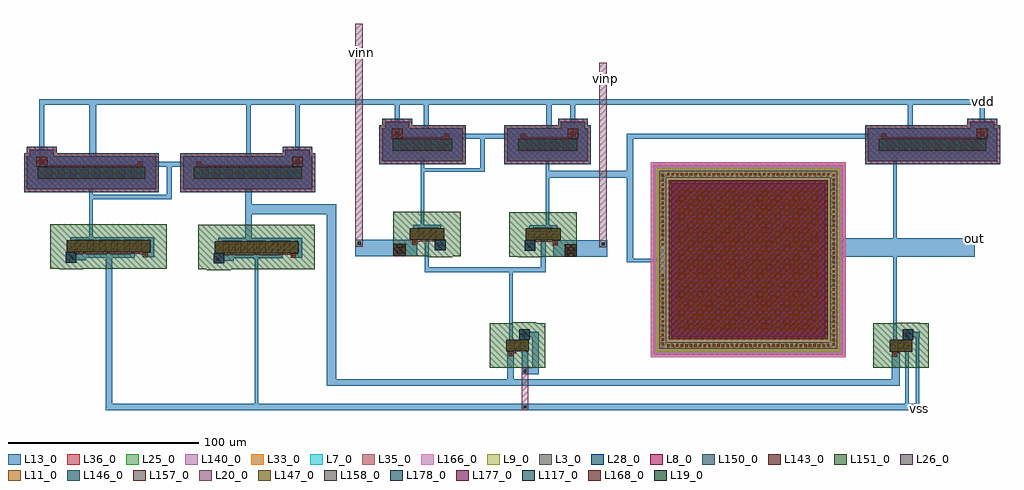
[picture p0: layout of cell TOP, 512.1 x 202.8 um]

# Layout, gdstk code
from math import pi, radians
import gdstk
lib = gdstk.Library(unit=1e-6, precision=1e-07)
def R(c, l, rs):  # rectangles x0, y0, x1, y1
    for r in rs: c.add(gdstk.rectangle(r[:2], r[2:], *l))
def A(c, l, x, y, w, h, nx, ny, dx, dy):  # array of equal rectangles
    R(c, l, [(x+i*dx, y+j*dy, x+i*dx+w, y+j*dy+h) for i in range(nx) for j in range(ny)])
def P(c, l, *ps):  # polygons
    for p in ps: c.add(gdstk.Polygon(p, *l))
L3_0 = (3, 0)
L7_0 = (7, 0)
L8_0 = (8, 0)
L9_0 = (9, 0)
L11_0 = (11, 0)
L13_0 = (13, 0)
L19_0 = (19, 0)
L20_0 = (20, 0)
L25_0 = (25, 0)
L26_0 = (26, 0)
L28_0 = (28, 0)
L33_0 = (33, 0)
L35_0 = (35, 0)
L36_0 = (36, 0)
L117_0 = (117, 0)
L140_0 = (140, 0)
L143_0 = (143, 0)
L146_0 = (146, 0)
L147_0 = (147, 0)
L150_0 = (150, 0)
L151_0 = (151, 0)
L157_0 = (157, 0)
L158_0 = (158, 0)
L166_0 = (166, 0)
L168_0 = (168, 0)
L177_0 = (177, 0)
L178_0 = (178, 0)

dcont = lib.new_cell('dcont')
R(dcont, L3_0, [(-1.3,-1.3,1.3,1.3)])
R(dcont, L11_0, [(-0.5,-0.5,0.5,0.5)])
R(dcont, L13_0, [(-1.3,-1.3,1.3,1.3), (-0.5,-0.5,0.5,0.5)])

pcont = lib.new_cell('pcont')
R(pcont, L8_0, [(-1.3,-1.3,1.3,1.3)])
R(pcont, L11_0, [(-0.5,-0.5,0.5,0.5)])
R(pcont, L13_0, [(-1.3,-1.3,1.3,1.3), (-0.5,-0.5,0.5,0.5)])

c_dcont = lib.new_cell('DCONT')
R(c_dcont, L3_0, [(-1.3,-1.3,1.3,1.3)])
R(c_dcont, L11_0, [(-0.5,-0.5,0.5,0.5)])
R(c_dcont, L13_0, [(-1.3,-1.3,1.3,1.3), (-0.5,-0.5,0.5,0.5)])

nsubcont = lib.new_cell('nsubcont')
R(nsubcont, L7_0, [(-2.8,-2.7,2.8,2.7)])
R(nsubcont, L9_0, [(-2.8,-2.7,2.8,2.7)])
R(nsubcont, L25_0, [(-6.3,-6.3,6.3,6.3)])
R(nsubcont, L26_0, [(-6.3,-6.3,6.3,6.3)])
R(nsubcont, L33_0, [(-2.8,-2.7,2.8,2.7)])
R(nsubcont, L35_0, [(-2.8,-2.7,2.8,2.7)])
R(nsubcont, L36_0, [(-7.8,-7.8,7.8,7.8)])
R(nsubcont, L140_0, [(-6.3,-6.3,6.3,6.3)])
R(nsubcont, L150_0, [(-7.8,-7.8,7.8,7.8)])
R(nsubcont, L177_0, [(-2.8,-2.7,2.8,2.7)])
nsubcont.add(gdstk.Reference(c_dcont, (0,0)))

mp_3 = lib.new_cell('MP$3')
R(mp_3, L3_0, [(0,3.6,28.2,7)])
R(mp_3, L7_0, [(-1.4,2.2,29.6,8.4)])
R(mp_3, L25_0, [(-7,-3.4,35.2,14)])
R(mp_3, L26_0, [(-7,-3.4,35.2,14)])
R(mp_3, L28_0, [(-1.4,2.2,29.6,8.4)])
R(mp_3, L33_0, [(-1.4,2.2,29.6,8.4)])
R(mp_3, L36_0, [(-8.5,-4.9,36.7,15.5)])
R(mp_3, L140_0, [(-7,-3.4,35.2,14)])
R(mp_3, L146_0, [(-1.4,2.2,29.6,8.4)])
R(mp_3, L150_0, [(-8.5,-4.9,36.7,15.5)])
R(mp_3, L157_0, [(-1.4,2.2,29.6,8.4)])
mp_3.add(gdstk.FlexPath([(1.3,3.6),(1.3,7)], 2.6, ends="flush", simple_path=True, layer=13, datatype=0))  # L13_0
mp_3.add(gdstk.FlexPath([(7.7,3.6),(7.7,7)], 2.6, ends="flush", simple_path=True, layer=13, datatype=0))  # L13_0
mp_3.add(gdstk.FlexPath([(14.1,3.6),(14.1,7)], 2.6, ends="flush", simple_path=True, layer=13, datatype=0))  # L13_0
mp_3.add(gdstk.FlexPath([(20.5,3.6),(20.5,7)], 2.6, ends="flush", simple_path=True, layer=13, datatype=0))  # L13_0
mp_3.add(gdstk.FlexPath([(26.9,3.6),(26.9,7)], 2.6, ends="flush", simple_path=True, layer=13, datatype=0))  # L13_0
mp_3.add(gdstk.FlexPath([(1.3,6),(1.3,9.3)], 1.8, ends="flush", simple_path=True, layer=13, datatype=0))  # L13_0
mp_3.add(gdstk.FlexPath([(7.7,0.3),(7.7,4.6)], 1.8, ends="flush", simple_path=True, layer=13, datatype=0))  # L13_0
mp_3.add(gdstk.FlexPath([(14.1,6),(14.1,9.3)], 1.8, ends="flush", simple_path=True, layer=13, datatype=0))  # L13_0
mp_3.add(gdstk.FlexPath([(1.3,9.3),(14.1,9.3)], 1.8, ends="extended", simple_path=True, layer=13, datatype=0))  # L13_0
mp_3.add(gdstk.FlexPath([(20.5,0.3),(20.5,4.6)], 1.8, ends="flush", simple_path=True, layer=13, datatype=0))  # L13_0
mp_3.add(gdstk.FlexPath([(7.7,0.3),(20.5,0.3)], 1.8, ends="extended", simple_path=True, layer=13, datatype=0))  # L13_0
mp_3.add(gdstk.FlexPath([(26.9,6),(26.9,9.3)], 1.8, ends="flush", simple_path=True, layer=13, datatype=0))  # L13_0
mp_3.add(gdstk.FlexPath([(14.1,9.3),(26.9,9.3)], 1.8, ends="extended", simple_path=True, layer=13, datatype=0))  # L13_0
mp_3.add(gdstk.FlexPath([(4.5,3.6),(4.5,7)], 3.4, ends=(1.2, 1.2), simple_path=True, layer=8, datatype=0))  # L8_0
mp_3.add(gdstk.FlexPath([(10.9,3.6),(10.9,7)], 3.4, ends=(1.2, 1.2), simple_path=True, layer=8, datatype=0))  # L8_0
mp_3.add(gdstk.FlexPath([(17.3,3.6),(17.3,7)], 3.4, ends=(1.2, 1.2), simple_path=True, layer=8, datatype=0))  # L8_0
mp_3.add(gdstk.FlexPath([(23.7,3.6),(23.7,7)], 3.4, ends=(1.2, 1.2), simple_path=True, layer=8, datatype=0))  # L8_0
mp_3.add(gdstk.FlexPath([(1.3,1.7),(3.3,1.7),(3.3,2.4)], 1, ends="flush", simple_path=True, layer=8, datatype=0))  # L8_0
mp_3.add(gdstk.FlexPath([(2.8,1.9),(12.6,1.9)], 1, ends="flush", simple_path=True, layer=8, datatype=0))  # L8_0
mp_3.add(gdstk.FlexPath([(9.2,1.9),(19,1.9)], 1, ends="flush", simple_path=True, layer=8, datatype=0))  # L8_0
mp_3.add(gdstk.FlexPath([(15.6,1.9),(25.4,1.9)], 1, ends="flush", simple_path=True, layer=8, datatype=0))  # L8_0
mp_3.add(gdstk.Reference(dcont, (1.3,5.3)))
mp_3.add(gdstk.Reference(dcont, (7.7,5.3)))
mp_3.add(gdstk.Reference(dcont, (14.1,5.3)))
mp_3.add(gdstk.Reference(dcont, (20.5,5.3)))
mp_3.add(gdstk.Reference(dcont, (26.9,5.3)))
mp_3.add(gdstk.Reference(pcont, (1.3,0.9)))
mp_3.add(gdstk.Reference(nsubcont, (27.4,-0.5)))

c_mp = lib.new_cell('MP')
R(c_mp, L3_0, [(0,3.6,53.8,7)])
R(c_mp, L7_0, [(-1.4,2.2,55.2,8.4)])
R(c_mp, L25_0, [(-7,-3.4,60.8,14)])
R(c_mp, L26_0, [(-7,-3.4,60.8,14)])
R(c_mp, L28_0, [(-1.4,2.2,55.2,8.4)])
R(c_mp, L33_0, [(-1.4,2.2,55.2,8.4)])
R(c_mp, L36_0, [(-8.5,-4.9,62.3,15.5)])
R(c_mp, L140_0, [(-7,-3.4,60.8,14)])
R(c_mp, L146_0, [(-1.4,2.2,55.2,8.4)])
R(c_mp, L150_0, [(-8.5,-4.9,62.3,15.5)])
R(c_mp, L157_0, [(-1.4,2.2,55.2,8.4)])
c_mp.add(gdstk.FlexPath([(1.3,3.6),(1.3,7)], 2.6, ends="flush", simple_path=True, layer=13, datatype=0))  # L13_0
c_mp.add(gdstk.FlexPath([(7.7,3.6),(7.7,7)], 2.6, ends="flush", simple_path=True, layer=13, datatype=0))  # L13_0
c_mp.add(gdstk.FlexPath([(14.1,3.6),(14.1,7)], 2.6, ends="flush", simple_path=True, layer=13, datatype=0))  # L13_0
c_mp.add(gdstk.FlexPath([(20.5,3.6),(20.5,7)], 2.6, ends="flush", simple_path=True, layer=13, datatype=0))  # L13_0
c_mp.add(gdstk.FlexPath([(26.9,3.6),(26.9,7)], 2.6, ends="flush", simple_path=True, layer=13, datatype=0))  # L13_0
c_mp.add(gdstk.FlexPath([(33.3,3.6),(33.3,7)], 2.6, ends="flush", simple_path=True, layer=13, datatype=0))  # L13_0
c_mp.add(gdstk.FlexPath([(39.7,3.6),(39.7,7)], 2.6, ends="flush", simple_path=True, layer=13, datatype=0))  # L13_0
c_mp.add(gdstk.FlexPath([(46.1,3.6),(46.1,7)], 2.6, ends="flush", simple_path=True, layer=13, datatype=0))  # L13_0
c_mp.add(gdstk.FlexPath([(52.5,3.6),(52.5,7)], 2.6, ends="flush", simple_path=True, layer=13, datatype=0))  # L13_0
c_mp.add(gdstk.FlexPath([(1.3,6),(1.3,9.3)], 1.8, ends="flush", simple_path=True, layer=13, datatype=0))  # L13_0
c_mp.add(gdstk.FlexPath([(7.7,0.3),(7.7,4.6)], 1.8, ends="flush", simple_path=True, layer=13, datatype=0))  # L13_0
c_mp.add(gdstk.FlexPath([(14.1,6),(14.1,9.3)], 1.8, ends="flush", simple_path=True, layer=13, datatype=0))  # L13_0
c_mp.add(gdstk.FlexPath([(1.3,9.3),(14.1,9.3)], 1.8, ends="extended", simple_path=True, layer=13, datatype=0))  # L13_0
c_mp.add(gdstk.FlexPath([(20.5,0.3),(20.5,4.6)], 1.8, ends="flush", simple_path=True, layer=13, datatype=0))  # L13_0
c_mp.add(gdstk.FlexPath([(7.7,0.3),(20.5,0.3)], 1.8, ends="extended", simple_path=True, layer=13, datatype=0))  # L13_0
c_mp.add(gdstk.FlexPath([(26.9,6),(26.9,9.3)], 1.8, ends="flush", simple_path=True, layer=13, datatype=0))  # L13_0
c_mp.add(gdstk.FlexPath([(14.1,9.3),(26.9,9.3)], 1.8, ends="extended", simple_path=True, layer=13, datatype=0))  # L13_0
c_mp.add(gdstk.FlexPath([(33.3,0.3),(33.3,4.6)], 1.8, ends="flush", simple_path=True, layer=13, datatype=0))  # L13_0
c_mp.add(gdstk.FlexPath([(20.5,0.3),(33.3,0.3)], 1.8, ends="extended", simple_path=True, layer=13, datatype=0))  # L13_0
c_mp.add(gdstk.FlexPath([(39.7,6),(39.7,9.3)], 1.8, ends="flush", simple_path=True, layer=13, datatype=0))  # L13_0
c_mp.add(gdstk.FlexPath([(26.9,9.3),(39.7,9.3)], 1.8, ends="extended", simple_path=True, layer=13, datatype=0))  # L13_0
c_mp.add(gdstk.FlexPath([(46.1,0.3),(46.1,4.6)], 1.8, ends="flush", simple_path=True, layer=13, datatype=0))  # L13_0
c_mp.add(gdstk.FlexPath([(33.3,0.3),(46.1,0.3)], 1.8, ends="extended", simple_path=True, layer=13, datatype=0))  # L13_0
c_mp.add(gdstk.FlexPath([(52.5,6),(52.5,9.3)], 1.8, ends="flush", simple_path=True, layer=13, datatype=0))  # L13_0
c_mp.add(gdstk.FlexPath([(39.7,9.3),(52.5,9.3)], 1.8, ends="extended", simple_path=True, layer=13, datatype=0))  # L13_0
c_mp.add(gdstk.FlexPath([(4.5,3.6),(4.5,7)], 3.4, ends=(1.2, 1.2), simple_path=True, layer=8, datatype=0))  # L8_0
c_mp.add(gdstk.FlexPath([(10.9,3.6),(10.9,7)], 3.4, ends=(1.2, 1.2), simple_path=True, layer=8, datatype=0))  # L8_0
c_mp.add(gdstk.FlexPath([(17.3,3.6),(17.3,7)], 3.4, ends=(1.2, 1.2), simple_path=True, layer=8, datatype=0))  # L8_0
c_mp.add(gdstk.FlexPath([(23.7,3.6),(23.7,7)], 3.4, ends=(1.2, 1.2), simple_path=True, layer=8, datatype=0))  # L8_0
c_mp.add(gdstk.FlexPath([(30.1,3.6),(30.1,7)], 3.4, ends=(1.2, 1.2), simple_path=True, layer=8, datatype=0))  # L8_0
c_mp.add(gdstk.FlexPath([(36.5,3.6),(36.5,7)], 3.4, ends=(1.2, 1.2), simple_path=True, layer=8, datatype=0))  # L8_0
c_mp.add(gdstk.FlexPath([(42.9,3.6),(42.9,7)], 3.4, ends=(1.2, 1.2), simple_path=True, layer=8, datatype=0))  # L8_0
c_mp.add(gdstk.FlexPath([(49.3,3.6),(49.3,7)], 3.4, ends=(1.2, 1.2), simple_path=True, layer=8, datatype=0))  # L8_0
c_mp.add(gdstk.FlexPath([(1.3,1.7),(3.3,1.7),(3.3,2.4)], 1, ends="flush", simple_path=True, layer=8, datatype=0))  # L8_0
c_mp.add(gdstk.FlexPath([(2.8,1.9),(12.6,1.9)], 1, ends="flush", simple_path=True, layer=8, datatype=0))  # L8_0
c_mp.add(gdstk.FlexPath([(9.2,1.9),(19,1.9)], 1, ends="flush", simple_path=True, layer=8, datatype=0))  # L8_0
c_mp.add(gdstk.FlexPath([(15.6,1.9),(25.4,1.9)], 1, ends="flush", simple_path=True, layer=8, datatype=0))  # L8_0
c_mp.add(gdstk.FlexPath([(22,1.9),(31.8,1.9)], 1, ends="flush", simple_path=True, layer=8, datatype=0))  # L8_0
c_mp.add(gdstk.FlexPath([(28.4,1.9),(38.2,1.9)], 1, ends="flush", simple_path=True, layer=8, datatype=0))  # L8_0
c_mp.add(gdstk.FlexPath([(34.8,1.9),(44.6,1.9)], 1, ends="flush", simple_path=True, layer=8, datatype=0))  # L8_0
c_mp.add(gdstk.FlexPath([(41.2,1.9),(51,1.9)], 1, ends="flush", simple_path=True, layer=8, datatype=0))  # L8_0
c_mp.add(gdstk.Reference(dcont, (1.3,5.3)))
c_mp.add(gdstk.Reference(dcont, (7.7,5.3)))
c_mp.add(gdstk.Reference(dcont, (14.1,5.3)))
c_mp.add(gdstk.Reference(dcont, (20.5,5.3)))
c_mp.add(gdstk.Reference(dcont, (26.9,5.3)))
c_mp.add(gdstk.Reference(dcont, (33.3,5.3)))
c_mp.add(gdstk.Reference(dcont, (39.7,5.3)))
c_mp.add(gdstk.Reference(dcont, (46.1,5.3)))
c_mp.add(gdstk.Reference(dcont, (52.5,5.3)))
c_mp.add(gdstk.Reference(pcont, (1.3,0.9)))
c_mp.add(gdstk.Reference(nsubcont, (53,-0.5)))

psubcont = lib.new_cell('psubcont')
R(psubcont, L7_0, [(-2.8,-2.7,2.8,2.7)])
R(psubcont, L28_0, [(-2.8,-2.7,2.8,2.7)])
R(psubcont, L33_0, [(-2.8,-2.7,2.8,2.7)])
R(psubcont, L35_0, [(-2.8,-2.7,2.8,2.7)])
R(psubcont, L151_0, [(-6.3,-6.3,6.3,6.3)])
R(psubcont, L178_0, [(-2.8,-2.7,2.8,2.7)])
psubcont.add(gdstk.Reference(c_dcont, (0,0)))

mn_5 = lib.new_cell('MN$5')
R(mn_5, L3_0, [(0,3.6,41,7)])
R(mn_5, L9_0, [(-1.4,2.2,42.4,8.4)])
R(mn_5, L33_0, [(-1.4,2.2,42.4,8.4)])
R(mn_5, L35_0, [(-1.4,2.2,42.4,8.4)])
R(mn_5, L147_0, [(-1.4,2.2,42.4,8.4)])
R(mn_5, L151_0, [(-10,-6.4,51,17)])
R(mn_5, L158_0, [(-1.4,2.2,42.4,8.4)])
mn_5.add(gdstk.FlexPath([(1.3,3.6),(1.3,7)], 2.6, ends="flush", simple_path=True, layer=13, datatype=0))  # L13_0
mn_5.add(gdstk.FlexPath([(7.7,3.6),(7.7,7)], 2.6, ends="flush", simple_path=True, layer=13, datatype=0))  # L13_0
mn_5.add(gdstk.FlexPath([(14.1,3.6),(14.1,7)], 2.6, ends="flush", simple_path=True, layer=13, datatype=0))  # L13_0
mn_5.add(gdstk.FlexPath([(20.5,3.6),(20.5,7)], 2.6, ends="flush", simple_path=True, layer=13, datatype=0))  # L13_0
mn_5.add(gdstk.FlexPath([(26.9,3.6),(26.9,7)], 2.6, ends="flush", simple_path=True, layer=13, datatype=0))  # L13_0
mn_5.add(gdstk.FlexPath([(33.3,3.6),(33.3,7)], 2.6, ends="flush", simple_path=True, layer=13, datatype=0))  # L13_0
mn_5.add(gdstk.FlexPath([(39.7,3.6),(39.7,7)], 2.6, ends="flush", simple_path=True, layer=13, datatype=0))  # L13_0
mn_5.add(gdstk.FlexPath([(1.3,1.3),(1.3,4.6)], 1.8, ends="flush", simple_path=True, layer=13, datatype=0))  # L13_0
mn_5.add(gdstk.FlexPath([(7.7,6),(7.7,10.3)], 1.8, ends="flush", simple_path=True, layer=13, datatype=0))  # L13_0
mn_5.add(gdstk.FlexPath([(14.1,1.3),(14.1,4.6)], 1.8, ends="flush", simple_path=True, layer=13, datatype=0))  # L13_0
mn_5.add(gdstk.FlexPath([(1.3,1.3),(14.1,1.3)], 1.8, ends="extended", simple_path=True, layer=13, datatype=0))  # L13_0
mn_5.add(gdstk.FlexPath([(20.5,6),(20.5,10.3)], 1.8, ends="flush", simple_path=True, layer=13, datatype=0))  # L13_0
mn_5.add(gdstk.FlexPath([(7.7,10.3),(20.5,10.3)], 1.8, ends="extended", simple_path=True, layer=13, datatype=0))  # L13_0
mn_5.add(gdstk.FlexPath([(26.9,1.3),(26.9,4.6)], 1.8, ends="flush", simple_path=True, layer=13, datatype=0))  # L13_0
mn_5.add(gdstk.FlexPath([(14.1,1.3),(26.9,1.3)], 1.8, ends="extended", simple_path=True, layer=13, datatype=0))  # L13_0
mn_5.add(gdstk.FlexPath([(33.3,6),(33.3,10.3)], 1.8, ends="flush", simple_path=True, layer=13, datatype=0))  # L13_0
mn_5.add(gdstk.FlexPath([(20.5,10.3),(33.3,10.3)], 1.8, ends="extended", simple_path=True, layer=13, datatype=0))  # L13_0
mn_5.add(gdstk.FlexPath([(39.7,1.3),(39.7,4.6)], 1.8, ends="flush", simple_path=True, layer=13, datatype=0))  # L13_0
mn_5.add(gdstk.FlexPath([(26.9,1.3),(39.7,1.3)], 1.8, ends="extended", simple_path=True, layer=13, datatype=0))  # L13_0
mn_5.add(gdstk.FlexPath([(4.5,3.6),(4.5,7)], 3.4, ends=(1.2, 1.2), simple_path=True, layer=8, datatype=0))  # L8_0
mn_5.add(gdstk.FlexPath([(10.9,3.6),(10.9,7)], 3.4, ends=(1.2, 1.2), simple_path=True, layer=8, datatype=0))  # L8_0
mn_5.add(gdstk.FlexPath([(17.3,3.6),(17.3,7)], 3.4, ends=(1.2, 1.2), simple_path=True, layer=8, datatype=0))  # L8_0
mn_5.add(gdstk.FlexPath([(23.7,3.6),(23.7,7)], 3.4, ends=(1.2, 1.2), simple_path=True, layer=8, datatype=0))  # L8_0
mn_5.add(gdstk.FlexPath([(30.1,3.6),(30.1,7)], 3.4, ends=(1.2, 1.2), simple_path=True, layer=8, datatype=0))  # L8_0
mn_5.add(gdstk.FlexPath([(36.5,3.6),(36.5,7)], 3.4, ends=(1.2, 1.2), simple_path=True, layer=8, datatype=0))  # L8_0
mn_5.add(gdstk.FlexPath([(1.3,8.9),(3.3,8.9),(3.3,8.2)], 1, ends="flush", simple_path=True, layer=8, datatype=0))  # L8_0
mn_5.add(gdstk.FlexPath([(2.8,8.7),(12.6,8.7)], 1, ends="flush", simple_path=True, layer=8, datatype=0))  # L8_0
mn_5.add(gdstk.FlexPath([(9.2,8.7),(19,8.7)], 1, ends="flush", simple_path=True, layer=8, datatype=0))  # L8_0
mn_5.add(gdstk.FlexPath([(15.6,8.7),(25.4,8.7)], 1, ends="flush", simple_path=True, layer=8, datatype=0))  # L8_0
mn_5.add(gdstk.FlexPath([(22,8.7),(31.8,8.7)], 1, ends="flush", simple_path=True, layer=8, datatype=0))  # L8_0
mn_5.add(gdstk.FlexPath([(28.4,8.7),(38.2,8.7)], 1, ends="flush", simple_path=True, layer=8, datatype=0))  # L8_0
mn_5.add(gdstk.Reference(dcont, (1.3,5.3)))
mn_5.add(gdstk.Reference(dcont, (7.7,5.3)))
mn_5.add(gdstk.Reference(dcont, (14.1,5.3)))
mn_5.add(gdstk.Reference(dcont, (20.5,5.3)))
mn_5.add(gdstk.Reference(dcont, (26.9,5.3)))
mn_5.add(gdstk.Reference(dcont, (33.3,5.3)))
mn_5.add(gdstk.Reference(dcont, (39.7,5.3)))
mn_5.add(gdstk.Reference(pcont, (1.3,9.7)))
mn_5.add(gdstk.Reference(psubcont, (40.2,11.1)))

c_mn = lib.new_cell('MN')
R(c_mn, L3_0, [(0,3.6,9,7)])
R(c_mn, L9_0, [(-1.4,2.2,10.4,8.4)])
R(c_mn, L33_0, [(-1.4,2.2,10.4,8.4)])
R(c_mn, L35_0, [(-1.4,2.2,10.4,8.4)])
R(c_mn, L147_0, [(-1.4,2.2,10.4,8.4)])
R(c_mn, L151_0, [(-10,-6.4,19,17)])
R(c_mn, L158_0, [(-1.4,2.2,10.4,8.4)])
c_mn.add(gdstk.FlexPath([(1.3,3.6),(1.3,7)], 2.6, ends="flush", simple_path=True, layer=13, datatype=0))  # L13_0
c_mn.add(gdstk.FlexPath([(7.7,3.6),(7.7,7)], 2.6, ends="flush", simple_path=True, layer=13, datatype=0))  # L13_0
c_mn.add(gdstk.FlexPath([(1.3,1.3),(1.3,4.6)], 1.8, ends="flush", simple_path=True, layer=13, datatype=0))  # L13_0
c_mn.add(gdstk.FlexPath([(7.7,6),(7.7,9.3)], 1.8, ends="flush", simple_path=True, layer=13, datatype=0))  # L13_0
c_mn.add(gdstk.FlexPath([(4.5,3.6),(4.5,7)], 3.4, ends=(1.2, 1.2), simple_path=True, layer=8, datatype=0))  # L8_0
c_mn.add(gdstk.FlexPath([(1.3,8.9),(3.3,8.9),(3.3,8.2)], 1, ends="flush", simple_path=True, layer=8, datatype=0))  # L8_0
c_mn.add(gdstk.Reference(dcont, (1.3,5.3)))
c_mn.add(gdstk.Reference(dcont, (7.7,5.3)))
c_mn.add(gdstk.Reference(pcont, (1.3,9.7)))
c_mn.add(gdstk.Reference(psubcont, (8.2,-0.5)))

text = lib.new_cell('TEXT')

mn_6 = lib.new_cell('MN$6')
R(mn_6, L3_0, [(0,3.6,15.4,7)])
R(mn_6, L9_0, [(-1.4,2.2,16.8,8.4)])
R(mn_6, L33_0, [(-1.4,2.2,16.8,8.4)])
R(mn_6, L35_0, [(-1.4,2.2,16.8,8.4)])
R(mn_6, L147_0, [(-1.4,2.2,16.8,8.4)])
R(mn_6, L151_0, [(-10,-6.4,25.4,17)])
R(mn_6, L158_0, [(-1.4,2.2,16.8,8.4)])
mn_6.add(gdstk.FlexPath([(1.3,3.6),(1.3,7)], 2.6, ends="flush", simple_path=True, layer=13, datatype=0))  # L13_0
mn_6.add(gdstk.FlexPath([(7.7,3.6),(7.7,7)], 2.6, ends="flush", simple_path=True, layer=13, datatype=0))  # L13_0
mn_6.add(gdstk.FlexPath([(14.1,3.6),(14.1,7)], 2.6, ends="flush", simple_path=True, layer=13, datatype=0))  # L13_0
mn_6.add(gdstk.FlexPath([(1.3,1.3),(1.3,4.6)], 1.8, ends="flush", simple_path=True, layer=13, datatype=0))  # L13_0
mn_6.add(gdstk.FlexPath([(7.7,6),(7.7,10.3)], 1.8, ends="flush", simple_path=True, layer=13, datatype=0))  # L13_0
mn_6.add(gdstk.FlexPath([(14.1,1.3),(14.1,4.6)], 1.8, ends="flush", simple_path=True, layer=13, datatype=0))  # L13_0
mn_6.add(gdstk.FlexPath([(1.3,1.3),(14.1,1.3)], 1.8, ends="extended", simple_path=True, layer=13, datatype=0))  # L13_0
mn_6.add(gdstk.FlexPath([(4.5,3.6),(4.5,7)], 3.4, ends=(1.2, 1.2), simple_path=True, layer=8, datatype=0))  # L8_0
mn_6.add(gdstk.FlexPath([(10.9,3.6),(10.9,7)], 3.4, ends=(1.2, 1.2), simple_path=True, layer=8, datatype=0))  # L8_0
mn_6.add(gdstk.FlexPath([(1.3,8.9),(3.3,8.9),(3.3,8.2)], 1, ends="flush", simple_path=True, layer=8, datatype=0))  # L8_0
mn_6.add(gdstk.FlexPath([(2.8,8.7),(12.6,8.7)], 1, ends="flush", simple_path=True, layer=8, datatype=0))  # L8_0
mn_6.add(gdstk.Reference(dcont, (1.3,5.3)))
mn_6.add(gdstk.Reference(dcont, (7.7,5.3)))
mn_6.add(gdstk.Reference(dcont, (14.1,5.3)))
mn_6.add(gdstk.Reference(pcont, (1.3,9.7)))
mn_6.add(gdstk.Reference(psubcont, (14.6,11.1)))

via = lib.new_cell('Via')
R(via, L13_0, [(-1.7,-1.7,1.7,1.7)])
R(via, L19_0, [(-0.7,-0.7,0.7,0.7)])
R(via, L20_0, [(-1.7,-1.7,1.7,1.7)])

csio = lib.new_cell('CSIO')
R(csio, L3_0, [(-40.3,-40.3,40.3,40.3)])
P(csio, L3_0, [(-46.7,-46.7),(-46.7,46.7),(43.1,46.7),(43.1,43.1),(-43.1,43.1),(-43.1,-43.1),(43.1,-43.1),(43.1,46.7),(46.7,46.7),(46.7,-46.7)])
R(csio, L7_0, [(-48.1,-48.1,48.1,48.1)])
R(csio, L8_0, [(-41.7,-41.7,41.7,41.7)])
R(csio, L9_0, [(-48.1,-48.1,48.1,48.1)])
A(csio, L11_0, -44.8, -45.5, 1.2, 1.2, 16, 1, 2.4, 0)
A(csio, L11_0, 7.6, -45.5, 1.2, 1.2, 16, 1, 2.4, 0)
A(csio, L11_0, -45.5, -42.6, 1.2, 1.2, 1, 36, 0, 2.4)
A(csio, L11_0, 44.3, -42.6, 1.2, 1.2, 1, 36, 0, 2.4)
A(csio, L11_0, -36.6, -36.6, 1.2, 1.2, 31, 31, 2.4, 2.4)
A(csio, L11_0, -45, 44.3, 1.2, 1.2, 38, 1, 2.4, 0)
R(csio, L13_0, [(-38.9,-38.9,38.9,38.9)])
P(csio, L13_0, [(-46.7,-46.7),(-46.7,46.7),(46.7,46.7),(46.7,-46.7),(5,-46.7),(5,-43.1),(43.1,-43.1),(43.1,43.1),(-43.1,43.1),(-43.1,-43.1),(-5,-43.1),(-5,-46.7)])
R(csio, L25_0, [(-49.7,-49.7,49.7,49.7)])
R(csio, L28_0, [(-41.7,-41.7,41.7,41.7)])
R(csio, L33_0, [(-48.1,-48.1,48.1,48.1)])
R(csio, L35_0, [(-48.1,-48.1,48.1,48.1)])
R(csio, L36_0, [(-51.2,-51.2,51.2,51.2)])
R(csio, L140_0, [(-49.7,-49.7,49.7,49.7)])
R(csio, L143_0, [(-41.7,-41.7,41.7,41.7)])
R(csio, L166_0, [(-51.2,-51.2,51.2,51.2)])
csio.add(gdstk.Label('CSIO', (0,0), layer=3, texttype=0))

c_dn = lib.new_cell('DN')
R(c_dn, L3_0, [(0,0,3.6,3.6)])
R(c_dn, L7_0, [(-1.4,-1.4,5,5)])
R(c_dn, L9_0, [(-1.4,-1.4,5,5)])
R(c_dn, L11_0, [(1.2,1.2,2.4,2.4)])
R(c_dn, L13_0, [(0,0,3.6,3.6), (0,0,3.6,3.6), (0,0,3.6,3.6), (0,0,3.6,3.6), (0,0,3.6,3.6)])
R(c_dn, L33_0, [(-1.4,-1.4,5,5)])
R(c_dn, L35_0, [(-1.4,-1.4,5,5)])
R(c_dn, L117_0, [(-1.4,-1.4,5,5), (0,0,3.6,3.6)])
R(c_dn, L168_0, [(-1.4,-1.4,5,5)])
c_dn.add(gdstk.Label('NDIO', (1.8,1.8), layer=3, texttype=0))

top = lib.new_cell('TOP')
R(top, L13_0, [(-220.9,-85.2,206,-81.8), (204.2,-85,206,-44.1), (198.5,-84.9,200.4,-54.4), (-142.8,-84.7,-140.9,-4.6), (-221,-84.4,-217.6,-4.3), (-105,-72.4,-100,22.9), (-105,-72.4,-6.9,-69), (-10.3,-72.4,-6.9,-54.4), (-10.2,-72.4,195.6,-69), (191.6,-72.4,195.6,-54.4), (-2.7,-66.4,0.7,-54.4), (-2.7,-66.4,6.4,-62.9), (3,-66.4,6.4,-44.1), (-9.1,-48.1,-7.3,-10.1), (192.2,-48.1,194,51), (-2.6,-46.7,4.8,-44.1), (198.7,-46.7,206.1,-44.1), (-53.5,-12.7,10,-10.1), (-53.5,-12.6,-51.3,3.4), (7.4,-12.5,9.9,3.2), (52.4,-7.5,55.8,59.9), (52.4,-7.5,80.7,-5.6), (-162.8,-6.7,-153.7,-3.7), (-240.4,-6.4,-231.3,-3.4), (-123.9,-5.3,-117.7,-2.7), (-119.9,-5.3,-117.7,5.3), (-201.5,-5,-195.5,-2.4), (-197.5,-5,-195.5,5.6), (159.3,-4.7,235.1,5.1), (13.8,-4.6,42.1,4), (-90,-4.4,-57.4,4.2), (-123.5,3.5,-117.7,5.3), (-201.1,3.9,-195.5,5.7), (-147.6,4.3,-144.2,35.4), (-229.6,4.7,-227.6,35.6), (10,10.9,11.8,50.1), (-55.6,11,-53.8,50.2), (-147.6,17.6,-100,22.9), (-229.2,25.5,-186.4,28), (-188.8,25.5,-186.4,45.1), (10.1,36.8,55.9,40.4), (-55.6,40,-22.1,41.9), (-24.5,40,-22.1,59.8), (-204.1,42.5,-170.7,45.1), (-121.6,43.9,-119,77.8), (-255.8,44.1,-253.2,78), (-147.3,44.4,-144.7,76.6), (-229.5,44.6,-225.9,76.9), (-43.1,57.2,-0.6,59.8), (52.5,57.3,188.6,59.8), (200,58.3,202.6,77.8), (22.9,58.6,25.5,77.5), (237.7,58.6,240.3,77.8), (-69.3,58.8,-66.7,77.7), (10.3,59.1,13,76.3), (-54.1,59.3,-51.5,76.5), (-255.9,75,240.4,77.9)])
R(top, L20_0, [(-2.7,-85.2,0.7,-63), (37.9,0.3,42,97.1), (-90,0.5,-86,117.6)])
top.add(gdstk.Reference(mp_3, (-3.2,59.4), x_reflection=True))
top.add(gdstk.Reference(c_mp, (-173.3,44.7), x_reflection=True))
top.add(gdstk.Reference(c_mp, (-201.5,44.7), rotation=pi))
top.add(gdstk.Reference(mn_5, (-198.9,6.1), rotation=pi))
top.add(gdstk.Reference(mp_3, (-40.6,59.4), rotation=pi))
top.add(gdstk.Reference(c_mn, (191.8,-46), x_reflection=True))
top.add(gdstk.Reference(text, (240,77.6)))
top.add(gdstk.Reference(text, (240.2,79.2)))
top.add(gdstk.Reference(text, (241.2,78.4)))
top.add(gdstk.Reference(text, (223.2,71.1)))
top.add(gdstk.Reference(text, (228.9,70.7)))
top.add(gdstk.Reference(mn_5, (-121.3,5.7), rotation=pi))
top.add(gdstk.Reference(mn_6, (16.3,12.4), rotation=pi))
top.add(gdstk.Reference(via, (-1,-83.5)))
top.add(gdstk.Reference(via, (-1,-64.7)))
top.add(gdstk.Reference(c_mp, (186,59.4), x_reflection=True))
top.add(gdstk.Reference(csio, (116.2,-6.3), rotation=3*pi/2))
top.add(gdstk.Reference(c_mn, (-9.4,-45.9), x_reflection=True))
top.add(gdstk.Reference(mn_6, (-60,12.6), x_reflection=True))
top.add(gdstk.Reference(via, (-87.9,2.4), rotation=3*pi/2))
top.add(gdstk.Reference(via, (40.1,2.1)))
top.add(gdstk.Reference(c_dn, (-68.6,-2.9)))
top.add(gdstk.Reference(c_dn, (24.9,-3.2), rotation=pi/2))
top.add(gdstk.Label('vinn', (-86.6,102.3), layer=13, texttype=0))
top.add(gdstk.Label('vinp', (41.4,89), layer=13, texttype=0))
top.add(gdstk.Label('vdd', (239.8,76.8), layer=13, texttype=0))
top.add(gdstk.Label('vss', (205.8,-84.1), layer=13, texttype=0))
top.add(gdstk.Label('out', (234.7,4.7), layer=13, texttype=0))

lib.write_gds('TOP.gds')
